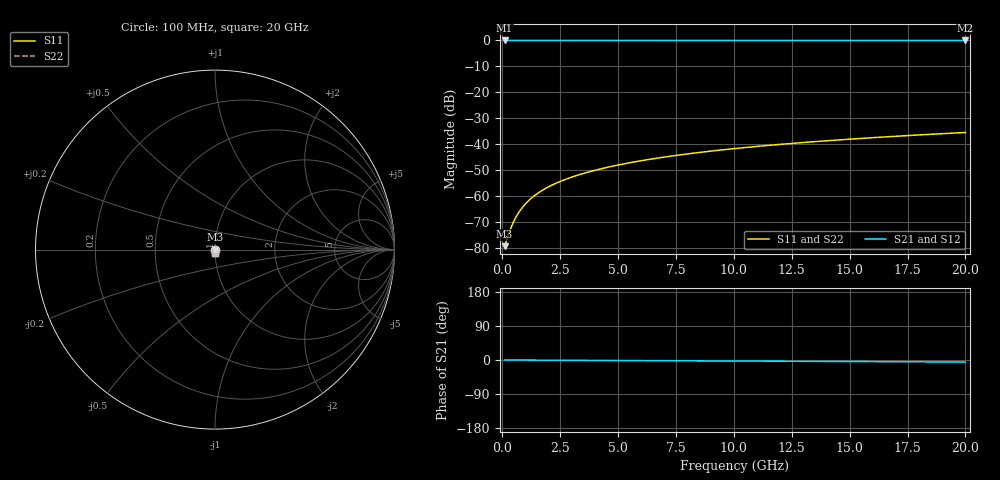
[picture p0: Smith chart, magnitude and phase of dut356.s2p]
! Touchstone file exported from HFSS 2026.1.0
!  File:  C:/ffzhzh/LocalFiles/Ansys_Project_Files/temp_train_TSV_356_1783019206_53980.aedt
!  Generated:  03:08:14 AM Jul  3, 2026
!  Design:  TSV
!  Project:  temp_train_TSV_356_1783019206_53980
! Variables:
!  h_bsmrdl = 2um
!  h_ox = 20um
!  h_rdl = 5um
!  h_sub = 52.15um
!  h_tmrdl = 5um
!  h_tsv = 52.15um
!  h_via = 3um
!  l_bsmrdl = 300um
!  l_sub = 419.88um
!  l_tmrdl = 200um
!  m_sub = 200um
!  pitch = 33.44um
!  r_tsv = 9.94um
!  s_tmrdl = 10um
!  w_bsmrdl = 18um
!  w_sub = 500um
!  w_tmrdl = 12um
!  x_tsv_center1 = 206um
!  x_tsv_center2 = 524um
!  x_tsv_center3 = 736um
!  x_tsv_center4 = 1054um
!  x_tsv_center5 = 1266um
!  x_tsv_center6 = 1584um
# GHz S MA R 50.000000
! Terminal data exported
! Port[1] = TSV1_1_T1
! Port[2] = TSV1_1_T2
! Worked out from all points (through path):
!   200 points, 100 MHz to 20 GHz, reference 50 ohm
!   highest |S21| = 0.00 dB at 100 MHz (marker M1); lowest = 0.0 dB at 20 GHz (marker M2)
!   lowest |S11| = -79.1 dB at 100 MHz (marker M3), VSWR 1.00, Z = 50 - j0.0051 ohm
!   |S11| at or under -10 dB: start of sweep to end of sweep
!   |S22| runs from -79.1 to -35.4 dB; largest |S21 - S12| = 2.1e-15
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0.1  0.0001108 -27.4  0.9999 -0.0  0.9999 -0.0  0.0001108 -27.4
! Gamma 0 0 0 0
! Port Impedance 50 0 50 0
0.3  0.0002046 -52.8  0.9999 -0.1  0.9999 -0.1  0.0002046 -52.8
0.4  0.000267 -58.0  0.9999 -0.1  0.9999 -0.1  0.000267 -58.0
0.5  0.0003355 -61.5  0.9998 -0.1  0.9998 -0.1  0.0003355 -61.5
0.6  0.0004084 -64.2  0.9998 -0.2  0.9998 -0.2  0.0004084 -64.2
0.7  0.0004843 -66.3  0.9998 -0.2  0.9998 -0.2  0.0004843 -66.3
0.9  0.0006416 -69.7  0.9998 -0.3  0.9998 -0.3  0.0006416 -69.7
1.2  0.0008835 -73.3  0.9997 -0.3  0.9997 -0.3  0.0008835 -73.3
1.4  0.001046 -75.0  0.9997 -0.4  0.9997 -0.4  0.001046 -75.0
1.6  0.001209 -76.5  0.9997 -0.4  0.9997 -0.4  0.001209 -76.5
2.1  0.001617 -79.0  0.9997 -0.6  0.9997 -0.6  0.001617 -79.0
2.7  0.002109 -80.9  0.9996 -0.7  0.9996 -0.7  0.002109 -80.9
3.5  0.002769 -82.6  0.9996 -1.0  0.9996 -1.0  0.002769 -82.6
4.2  0.003353 -83.6  0.9996 -1.1  0.9996 -1.1  0.003353 -83.6
5  0.004025 -84.4  0.9995 -1.4  0.9995 -1.4  0.004025 -84.4
5.9  0.004789 -85.3  0.9995 -1.6  0.9995 -1.6  0.004789 -85.3
6.8  0.005557 -85.9  0.9994 -1.8  0.9994 -1.8  0.005557 -85.9
8.3  0.006845 -86.9  0.9993 -2.2  0.9993 -2.2  0.006845 -86.9
10.1  0.008398 -88.0  0.9993 -2.7  0.9993 -2.7  0.008398 -88.0
13.4  0.01125 -89.5  0.9991 -3.6  0.9991 -3.6  0.01125 -89.5
16.7  0.01412 -90.9  0.999 -4.5  0.999 -4.5  0.01412 -90.9
20  0.017 -92.0  0.9989 -5.4  0.9989 -5.4  0.017 -92.0
